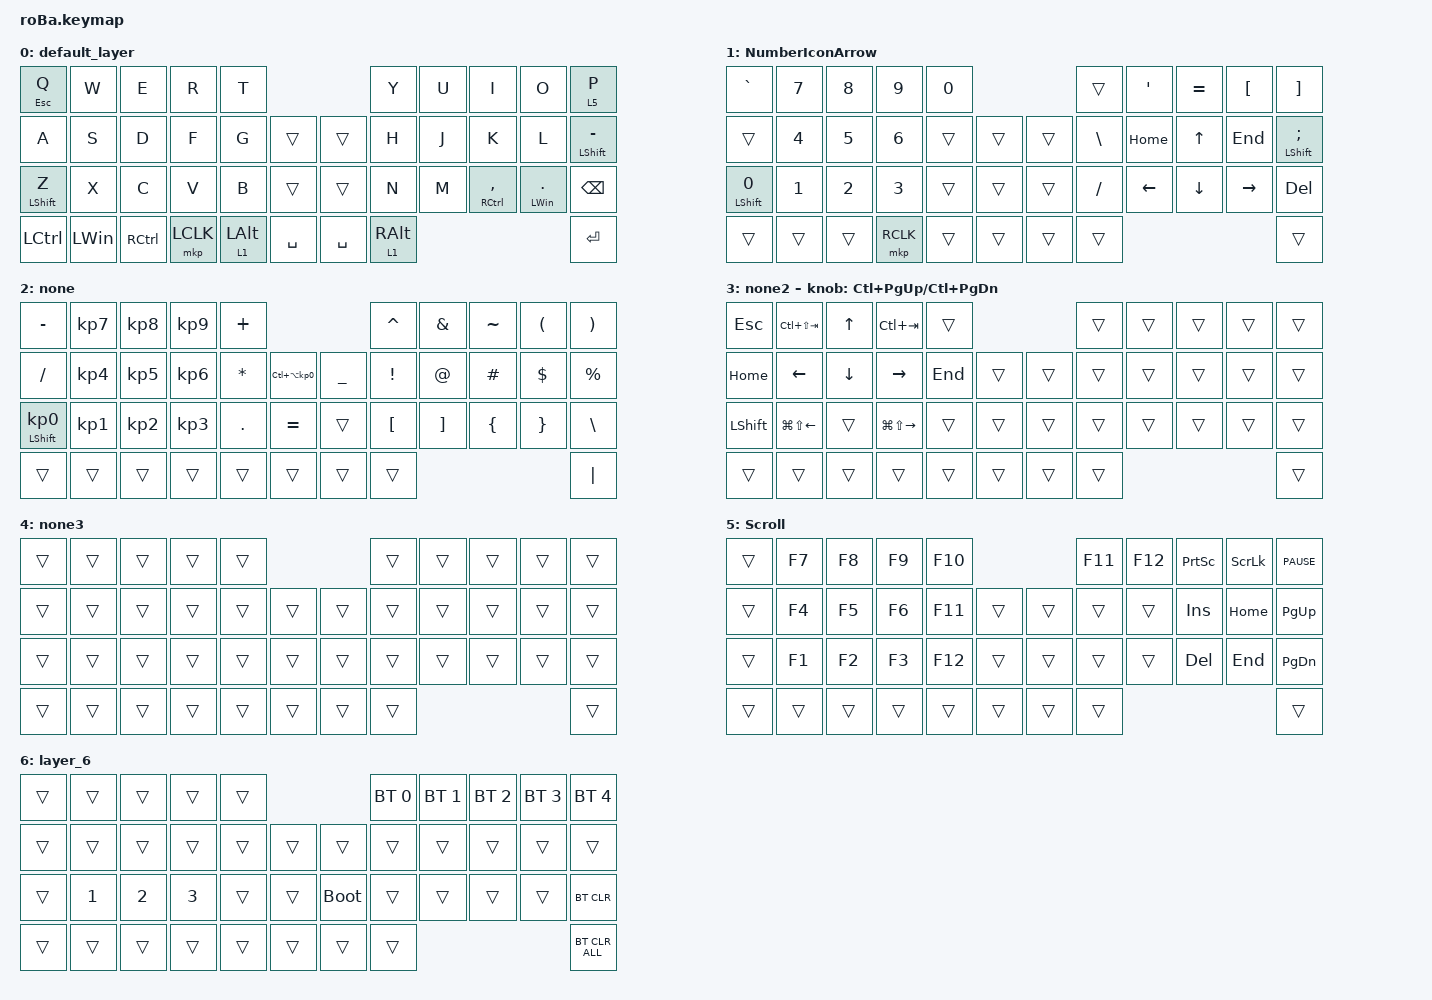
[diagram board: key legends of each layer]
#include <behaviors.dtsi>
#include <dt-bindings/zmk/bt.h>
#include <dt-bindings/zmk/keys.h>
#include <dt-bindings/zmk/pointing.h>

#define MOUSE 4
#define SCROLL 5
#define NUM 6

&mt {
    flavor = "balanced";
    quick-tap-ms = <0>;
};

/ {
    combos {
        compatible = "zmk,combos";

        tab {
            bindings = <&kp TAB>;
            key-positions = <11 12>;
        };

        shift_tab {
            bindings = <&kp LS(TAB)>;
            key-positions = <12 13>;
        };

        muhennkann {
            bindings = <&to_layer_0 INT_MUHENKAN>;
            key-positions = <11 10>;
        };

        double_quotation {
            bindings = <&kp DOUBLE_QUOTES>;
            key-positions = <20 21>;
        };

        eq {
            bindings = <&kp EQUAL>;
            key-positions = <24 25>;
        };
    };

    macros {
        to_layer_0: to_layer_0 {
            compatible = "zmk,behavior-macro-one-param";
            #binding-cells = <1>;
            bindings = <&to 0 &macro_param_1to1 &kp MACRO_PLACEHOLDER>;
            label = "TO_LAYER_0";
        };
    };

    behaviors {
        lt_to_layer_0: lt_to_layer_0 {
            compatible = "zmk,behavior-hold-tap";
            label = "LAYER_TAP_TO_0";
            bindings = <&mo>, <&to_layer_0>;

            #binding-cells = <2>;
            tapping-term-ms = <200>;
        };
    };

    keymap {
        compatible = "zmk,keymap";

        default_layer {
            bindings = <
&mt ESCAPE Q      &kp W         &kp E      &kp R      &kp T                                     &kp Y            &kp U  &kp I            &kp O                &lt 5 P
&kp A             &kp S         &kp D      &kp F      &kp G           &trans         &trans     &kp H            &kp J  &kp K            &kp L                &mt LEFT_SHIFT MINUS
&mt LEFT_SHIFT Z  &kp X         &kp C      &kp V      &kp B           &trans         &trans     &kp N            &kp M  &mt RCTRL COMMA  &mt LEFT_WIN PERIOD  &kp BACKSPACE
&kp LCTRL         &kp LEFT_WIN  &kp RCTRL  &mkp LCLK  &lt 1 LEFT_ALT  &kp SPACE      &kp SPACE  &lt 1 RIGHT_ALT                                               &kp ENTER
            >;
        };

        NumberIconArrow {
            bindings = <
&kp GRAVE          &kp N7        &kp N8        &kp N9        &kp N0                      &trans         &kp SQT   &kp EQUAL  &kp LEFT_BRACKET  &kp RIGHT_BRACKET
&trans             &kp NUMBER_4  &kp N5        &kp NUMBER_6  &trans  &trans      &trans  &kp BACKSLASH  &kp HOME  &kp UP     &kp END           &mt LEFT_SHIFT SEMICOLON
&mt LEFT_SHIFT N0  &kp NUMBER_1  &kp NUMBER_2  &kp NUMBER_3  &trans  &trans      &trans  &kp SLASH      &kp LEFT  &kp DOWN   &kp RIGHT         &kp DELETE
&trans             &trans        &trans        &mkp RCLK     &trans  &trans      &trans  &trans                                                &trans
            >;
        };

        none {
            bindings = <
&kp MINUS                   &kp KP_NUMBER_7  &kp KP_NUMBER_8  &kp KP_NUMBER_9  &kp PLUS                                                   &kp CARET         &kp AMPERSAND      &kp TILDE       &kp LEFT_PARENTHESIS  &kp RIGHT_PARENTHESIS
&kp SLASH                   &kp KP_NUMBER_4  &kp KP_NUMBER_5  &kp KP_NUMBER_6  &kp ASTERISK  &kp LC(LA(KP_NUMBER_0))      &kp UNDERSCORE  &kp EXCLAMATION   &kp AT_SIGN        &kp HASH        &kp DOLLAR            &kp PERCENT
&mt LEFT_SHIFT KP_NUMBER_0  &kp KP_NUMBER_1  &kp KP_NUMBER_2  &kp KP_NUMBER_3  &kp PERIOD    &kp EQUAL                    &trans          &kp LEFT_BRACKET  &kp RIGHT_BRACKET  &kp LEFT_BRACE  &kp RIGHT_BRACE       &kp BACKSLASH
&trans                      &trans           &trans           &trans           &trans        &trans                       &trans          &trans                                                                     &kp PIPE
            >;
        };

        none2 {
            bindings = <
&kp ESCAPE      &kp LC(LS(TAB))         &kp UP_ARROW    &kp LC(TAB)              &trans                       &trans  &trans  &trans  &trans  &trans
&kp HOME        &kp LEFT_ARROW          &kp DOWN_ARROW  &kp RIGHT_ARROW          &kp END  &trans      &trans  &trans  &trans  &trans  &trans  &trans
&kp LEFT_SHIFT  &kp LG(LS(LEFT_ARROW))  &trans          &kp LG(LS(RIGHT_ARROW))  &trans   &trans      &trans  &trans  &trans  &trans  &trans  &trans
&trans          &trans                  &trans          &trans                   &trans   &trans      &trans  &trans                          &trans
            >;

            sensor-bindings = <&inc_dec_kp LC(PAGE_UP) LC(PAGE_DOWN)>;
        };

        none3 {
            bindings = <
&trans  &trans  &trans  &trans  &trans                      &trans  &trans  &trans  &trans  &trans
&trans  &trans  &trans  &trans  &trans  &trans      &trans  &trans  &trans  &trans  &trans  &trans
&trans  &trans  &trans  &trans  &trans  &trans      &trans  &trans  &trans  &trans  &trans  &trans
&trans  &trans  &trans  &trans  &trans  &trans      &trans  &trans                          &trans
            >;
        };

        Scroll {
            bindings = <
&trans  &kp F7  &kp F8  &kp F9  &kp F10                      &kp F11  &kp F12  &kp PRINTSCREEN  &kp SCROLLLOCK  &kp C_PAUSE
&trans  &kp F4  &kp F5  &kp F6  &kp F11  &trans      &trans  &trans   &trans   &kp INSERT       &kp HOME        &kp PAGE_UP
&trans  &kp F1  &kp F2  &kp F3  &kp F12  &trans      &trans  &trans   &trans   &kp DELETE       &kp END         &kp PAGE_DOWN
&trans  &trans  &trans  &trans  &trans   &trans      &trans  &trans                                             &trans
            >;
        };

        layer_6 {
            bindings = <
&trans  &trans        &trans        &trans        &trans                           &bt BT_SEL 0  &bt BT_SEL 1  &bt BT_SEL 2  &bt BT_SEL 3  &bt BT_SEL 4
&trans  &trans        &trans        &trans        &trans  &trans      &trans       &trans        &trans        &trans        &trans        &trans
&trans  &kp NUMBER_1  &kp NUMBER_2  &kp NUMBER_3  &trans  &trans      &bootloader  &trans        &trans        &trans        &trans        &bt BT_CLR
&trans  &trans        &trans        &trans        &trans  &trans      &trans       &trans                                                  &bt BT_CLR_ALL
            >;
        };
    };
};
